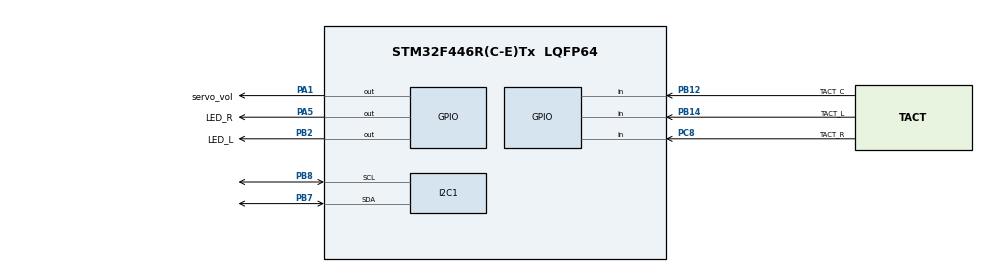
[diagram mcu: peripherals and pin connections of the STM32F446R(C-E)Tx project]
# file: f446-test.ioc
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Mcu.Family=STM32F4
Mcu.Name=STM32F446R(C-E)Tx
Mcu.Package=LQFP64
NVIC.PriorityGroup=NVIC_PRIORITYGROUP_4
PA1.GPIO_Label=servo_vol
PA1.Signal=GPIO_Output
PA5.GPIO_Label=LED_R
PA5.Signal=GPIO_Output
PB12.GPIO_Label=TACT_C
PB12.Signal=GPIO_Input
PB14.GPIO_Label=TACT_L
PB14.Signal=GPIO_Input
PB2.GPIO_Label=LED_L
PB2.Signal=GPIO_Output
PB7.Mode=I2C
PB7.Signal=I2C1_SDA
PB8.Mode=I2C
PB8.Signal=I2C1_SCL
PC8.GPIO_Label=TACT_R
PC8.Signal=GPIO_Input
ProjectManager.HeapSize=0x200
ProjectManager.StackSize=0x400
ProjectManager.TargetToolchain=STM32CubeIDE
RCC.CortexFreq_Value=16000000
RCC.USBFreq_Value=96000000
RCC.VCOOutputFreq_Value=192000000
board=custom

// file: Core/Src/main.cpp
/* USER CODE BEGIN Header */
/**
  ******************************************************************************
  * @file           : main.c
  * @brief          : Main program body
  ******************************************************************************
  * @attention
  *
  * Copyright (c) 2024 STMicroelectronics.
  * All rights reserved.
  *
  * This software is licensed under terms that can be found in the LICENSE file
  * in the root directory of this software component.
  * If no LICENSE file comes with this software, it is provided AS-IS.
  *
  ******************************************************************************
  */
/* USER CODE END Header */
#include "main.h"

/* USER CODE BEGIN Includes */
#include "BNO055.h"

#include "SSD1306.h"
#include "fonts.h"
#include <stdio.h>

#include "lib/ftoa.h"

/* USER CODE END Includes */

I2C_HandleTypeDef hi2c1;

/* USER CODE BEGIN PV */

float a = 0;
float b = 0;
float c = 0;
HAL_StatusTypeDef status;

/* USER CODE END PV */

void SystemClock_Config(void);
static void MX_GPIO_Init(void);
static void MX_I2C1_Init(void);

int main(void)
{

  /* MCU Configuration--------------------------------------------------------*/

  /* Reset of all peripherals, Initializes the Flash interface and the Systick. */
  HAL_Init();

  /* Configure the system clock */
  SystemClock_Config();

  /* Initialize all configured peripherals */
  MX_GPIO_Init();
  MX_I2C1_Init();
  /* USER CODE BEGIN 2 */

  BNO055 bno055(&hi2c1);

  /* USER CODE END 2 */

  /* Infinite loop */
  /* USER CODE BEGIN WHILE */
	ssd1306_Init(&hi2c1);
	HAL_Delay(1000);
	ssd1306_Fill(Black);
	ssd1306_UpdateScreen(&hi2c1);

	HAL_Delay(1000);
	ssd1306_SetCursor(7,13);
	ssd1306_WriteString("Tomoshibi",Font_11x18,White);
	ssd1306_SetCursor(12,33);
	ssd1306_WriteString("Technology",Font_11x18,Black);

	ssd1306_UpdateScreen(&hi2c1);

  HAL_GPIO_WritePin(servo_vol_GPIO_Port, servo_vol_Pin, GPIO_PIN_SET);
  HAL_GPIO_WritePin(LED_R_GPIO_Port, LED_R_Pin, GPIO_PIN_SET);

  if (!bno055.begin()) {
	  // センサ初期化失敗時の処理
	  while (1);
  }
  HAL_Delay(1000);
  HAL_GPIO_WritePin(LED_R_GPIO_Port, LED_R_Pin, GPIO_PIN_RESET);

  float heading, roll, pitch;
  HAL_GPIO_WritePin(LED_L_GPIO_Port, LED_L_Pin, GPIO_PIN_SET);

  char buf[32];
  while (1)
  {
	HAL_GPIO_TogglePin(LED_L_GPIO_Port, LED_L_Pin);

	bno055.getEulerAngles(heading, roll, pitch);
//	printf("Heading: %.2f, Roll: %.2f, Pitch: %.2f\n", heading, roll, pitch);
	a = heading;
	b = roll;
	c = pitch;

	// OLEDディスプレイにオイラー角を表示
	ssd1306_Fill(Black);
//	snprintf(buf, sizeof(buf), "Heading: %.2f", heading);
	ftoa(heading, buf, 5);
	ssd1306_SetCursor(0, 0);
	ssd1306_WriteString(buf, Font_7x10, White);

//	snprintf(buf, sizeof(buf), "Roll: %.2f", roll);
	ftoa(roll, buf, 5);
	ssd1306_SetCursor(0, 20);
	ssd1306_WriteString(buf, Font_7x10, White);

//	snprintf(buf, sizeof(buf), "Pitch: %.2f", pitch);
	ftoa(pitch, buf, 5);
	ssd1306_SetCursor(0, 40);
	ssd1306_WriteString(buf, Font_7x10, White);

	ssd1306_UpdateScreen(&hi2c1);

	HAL_Delay(100);

    /* USER CODE END WHILE */

  }
}

void SystemClock_Config(void)
{
  RCC_OscInitTypeDef RCC_OscInitStruct = {0};
  RCC_ClkInitTypeDef RCC_ClkInitStruct = {0};

  /** Configure the main internal regulator output voltage
  */
  __HAL_RCC_PWR_CLK_ENABLE();
  __HAL_PWR_VOLTAGESCALING_CONFIG(PWR_REGULATOR_VOLTAGE_SCALE3);

  /** Initializes the RCC Oscillators according to the specified parameters
  * in the RCC_OscInitTypeDef structure.
  */
  RCC_OscInitStruct.OscillatorType = RCC_OSCILLATORTYPE_HSI;
  RCC_OscInitStruct.HSIState = RCC_HSI_ON;
  RCC_OscInitStruct.HSICalibrationValue = RCC_HSICALIBRATION_DEFAULT;
  RCC_OscInitStruct.PLL.PLLState = RCC_PLL_NONE;
  if (HAL_RCC_OscConfig(&RCC_OscInitStruct) != HAL_OK)
  {
    Error_Handler();
  }

  /** Initializes the CPU, AHB and APB buses clocks
  */
  RCC_ClkInitStruct.ClockType = RCC_CLOCKTYPE_HCLK|RCC_CLOCKTYPE_SYSCLK
                              |RCC_CLOCKTYPE_PCLK1|RCC_CLOCKTYPE_PCLK2;
  RCC_ClkInitStruct.SYSCLKSource = RCC_SYSCLKSOURCE_HSI;
  RCC_ClkInitStruct.AHBCLKDivider = RCC_SYSCLK_DIV1;
  RCC_ClkInitStruct.APB1CLKDivider = RCC_HCLK_DIV1;
  RCC_ClkInitStruct.APB2CLKDivider = RCC_HCLK_DIV1;

  if (HAL_RCC_ClockConfig(&RCC_ClkInitStruct, FLASH_LATENCY_0) != HAL_OK)
  {
    Error_Handler();
  }
}

static void MX_I2C1_Init(void)
{

  hi2c1.Instance = I2C1;
  hi2c1.Init.ClockSpeed = 100000;
  hi2c1.Init.DutyCycle = I2C_DUTYCYCLE_2;
  hi2c1.Init.OwnAddress1 = 0;
  hi2c1.Init.AddressingMode = I2C_ADDRESSINGMODE_7BIT;
  hi2c1.Init.DualAddressMode = I2C_DUALADDRESS_DISABLE;
  hi2c1.Init.OwnAddress2 = 0;
  hi2c1.Init.GeneralCallMode = I2C_GENERALCALL_DISABLE;
  hi2c1.Init.NoStretchMode = I2C_NOSTRETCH_DISABLE;
  if (HAL_I2C_Init(&hi2c1) != HAL_OK)
  {
    Error_Handler();
  }

}

static void MX_GPIO_Init(void)
{
  GPIO_InitTypeDef GPIO_InitStruct = {0};

  /* GPIO Ports Clock Enable */
  __HAL_RCC_GPIOA_CLK_ENABLE();
  __HAL_RCC_GPIOB_CLK_ENABLE();
  __HAL_RCC_GPIOC_CLK_ENABLE();

  /*Configure GPIO pin Output Level */
  HAL_GPIO_WritePin(GPIOA, servo_vol_Pin|LED_R_Pin, GPIO_PIN_RESET);

  /*Configure GPIO pin Output Level */
  HAL_GPIO_WritePin(LED_L_GPIO_Port, LED_L_Pin, GPIO_PIN_RESET);

  /*Configure GPIO pins : servo_vol_Pin LED_R_Pin */
  GPIO_InitStruct.Pin = servo_vol_Pin|LED_R_Pin;
  GPIO_InitStruct.Mode = GPIO_MODE_OUTPUT_PP;
  GPIO_InitStruct.Pull = GPIO_NOPULL;
  GPIO_InitStruct.Speed = GPIO_SPEED_FREQ_LOW;
  HAL_GPIO_Init(GPIOA, &GPIO_InitStruct);

  /*Configure GPIO pin : LED_L_Pin */
  GPIO_InitStruct.Pin = LED_L_Pin;
  GPIO_InitStruct.Mode = GPIO_MODE_OUTPUT_PP;
  GPIO_InitStruct.Pull = GPIO_NOPULL;
  GPIO_InitStruct.Speed = GPIO_SPEED_FREQ_LOW;
  HAL_GPIO_Init(LED_L_GPIO_Port, &GPIO_InitStruct);

  /*Configure GPIO pins : TACT_C_Pin TACT_L_Pin */
  GPIO_InitStruct.Pin = TACT_C_Pin|TACT_L_Pin;
  GPIO_InitStruct.Mode = GPIO_MODE_INPUT;
  GPIO_InitStruct.Pull = GPIO_NOPULL;
  HAL_GPIO_Init(GPIOB, &GPIO_InitStruct);

  /*Configure GPIO pin : TACT_R_Pin */
  GPIO_InitStruct.Pin = TACT_R_Pin;
  GPIO_InitStruct.Mode = GPIO_MODE_INPUT;
  GPIO_InitStruct.Pull = GPIO_NOPULL;
  HAL_GPIO_Init(TACT_R_GPIO_Port, &GPIO_InitStruct);

}

void Error_Handler(void)
{
  __disable_irq();
  while (1)
  {
  }
}
